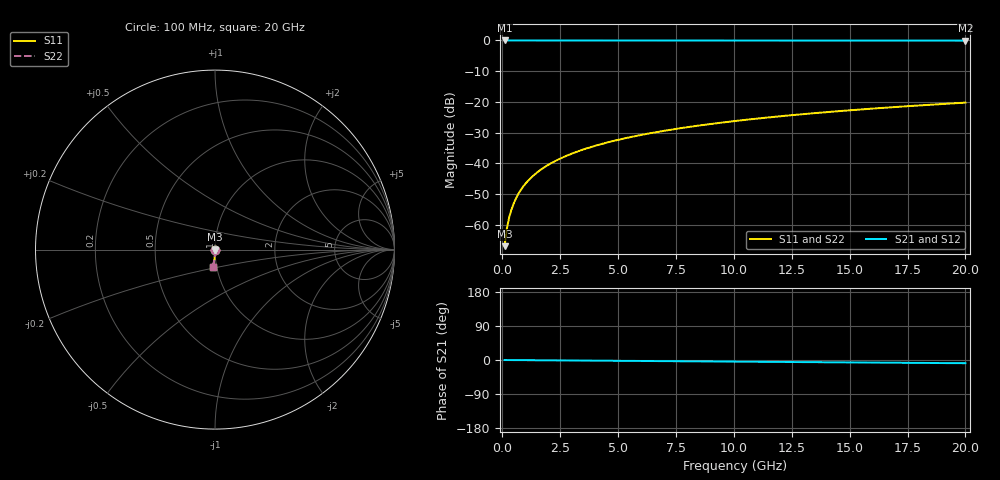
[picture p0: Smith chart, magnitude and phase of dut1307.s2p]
! Touchstone file exported from HFSS 2026.1.0
!  File:  C:/ffzhzh/LocalFiles/Ansys_Project_Files/temp_train_TSV_1307_1783194888_22436.aedt
!  Generated:  03:56:06 AM Jul  5, 2026
!  Design:  TSV
!  Project:  temp_train_TSV_1307_1783194888_22436
! Variables:
!  h_bsmrdl = 2um
!  h_ox = 20um
!  h_rdl = 5um
!  h_sub = 68.57um
!  h_tmrdl = 5um
!  h_tsv = 68.57um
!  h_via = 3um
!  l_bsmrdl = 300um
!  l_sub = 421.5um
!  l_tmrdl = 200um
!  m_sub = 200um
!  pitch = 25.49um
!  r_tsv = 10.75um
!  s_tmrdl = 10um
!  w_bsmrdl = 18um
!  w_sub = 500um
!  w_tmrdl = 12um
!  x_tsv_center1 = 206um
!  x_tsv_center2 = 524um
!  x_tsv_center3 = 736um
!  x_tsv_center4 = 1054um
!  x_tsv_center5 = 1266um
!  x_tsv_center6 = 1584um
# GHz S MA R 50.000000
! Terminal data exported
! Port[1] = TSV1_1_T1
! Port[2] = TSV1_1_T2
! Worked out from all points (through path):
!   200 points, 100 MHz to 20 GHz, reference 50 ohm
!   highest |S21| = 0.00 dB at 100 MHz (marker M1); lowest = -0.1 dB at 20 GHz (marker M2)
!   group delay of S21, straight-line fit = 1.18 ps
!   lowest |S11| = -67.0 dB at 100 MHz (marker M3), VSWR 1.00, Z = 50 - j0.0431 ohm
!   |S11| at or under -10 dB: start of sweep to end of sweep
!   |S22| runs from -67.0 to -20.3 dB; largest |S21 - S12| = 5.5e-15
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0.1  0.0004466 -74.5  0.9999 -0.0  0.9999 -0.0  0.0004466 -74.5
! Gamma 0 0 0 0
! Port Impedance 50 0 50 0
0.2  0.0008779 -80.9  0.9999 -0.1  0.9999 -0.1  0.0008779 -80.9
0.3  0.001324 -82.8  0.9998 -0.1  0.9998 -0.1  0.001324 -82.8
0.4  0.001781 -83.7  0.9998 -0.2  0.9998 -0.2  0.001781 -83.7
0.5  0.002248 -84.2  0.9998 -0.2  0.9998 -0.2  0.002248 -84.2
0.7  0.003199 -85.1  0.9997 -0.3  0.9997 -0.3  0.003199 -85.1
0.8  0.00368 -85.4  0.9997 -0.4  0.9997 -0.4  0.00368 -85.4
1  0.004647 -86.1  0.9996 -0.4  0.9996 -0.4  0.004647 -86.1
1.2  0.005616 -86.6  0.9996 -0.5  0.9996 -0.5  0.005616 -86.6
1.4  0.006585 -87.0  0.9996 -0.6  0.9996 -0.6  0.006585 -87.0
1.7  0.008039 -87.6  0.9995 -0.7  0.9995 -0.7  0.008039 -87.6
2  0.009491 -88.0  0.9995 -0.9  0.9995 -0.9  0.009491 -88.0
2.7  0.01288 -88.8  0.9994 -1.2  0.9994 -1.2  0.01288 -88.8
3.5  0.01676 -89.4  0.9993 -1.5  0.9993 -1.5  0.01676 -89.4
4.2  0.02016 -89.9  0.9991 -1.8  0.9991 -1.8  0.02016 -89.9
5  0.02406 -90.4  0.999 -2.1  0.999 -2.1  0.02406 -90.4
6.8  0.03285 -91.4  0.9986 -2.9  0.9986 -2.9  0.03285 -91.4
8.3  0.04019 -92.2  0.9982 -3.6  0.9982 -3.6  0.04019 -92.2
10.1  0.04899 -93.1  0.9977 -4.3  0.9977 -4.3  0.04899 -93.1
13.4  0.06509 -94.6  0.9966 -5.7  0.9966 -5.7  0.06509 -94.6
16.7  0.08113 -96.1  0.9953 -7.1  0.9953 -7.1  0.08113 -96.1
20  0.09711 -97.6  0.9937 -8.5  0.9937 -8.5  0.09711 -97.6
